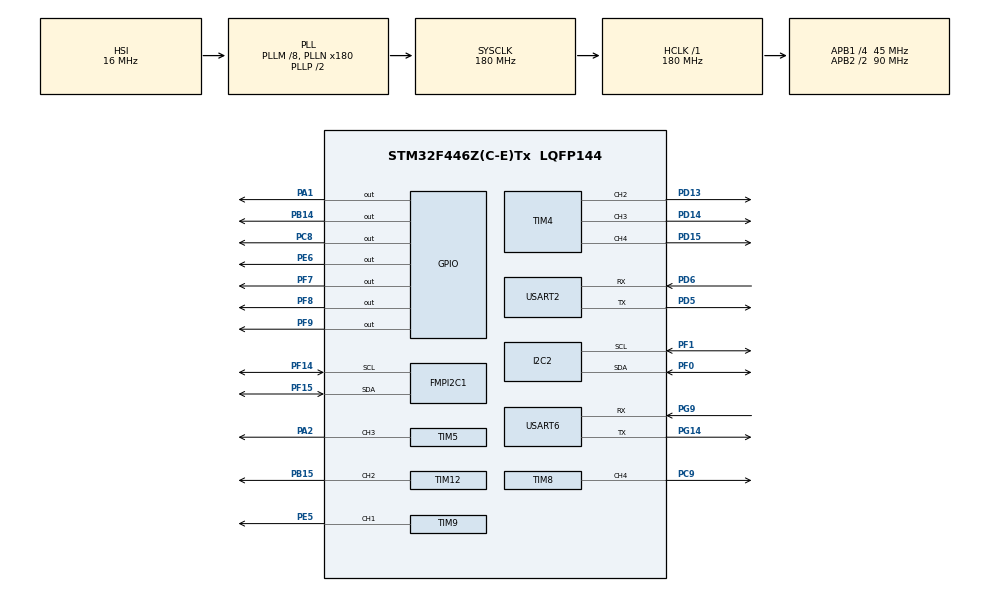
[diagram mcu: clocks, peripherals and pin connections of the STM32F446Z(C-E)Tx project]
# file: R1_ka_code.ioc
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FMPI2C1.Timing=0xC0000E12
Mcu.Family=STM32F4
Mcu.Name=STM32F446Z(C-E)Tx
Mcu.Package=LQFP144
NVIC.PriorityGroup=NVIC_PRIORITYGROUP_4
NVIC.TIM6_DAC_IRQn=true\:0\:0\:false\:false\:true\:true\:true\:true
NVIC.TIM7_IRQn=true\:0\:0\:false\:false\:true\:true\:true\:true
NVIC.USART2_IRQn=true\:0\:0\:false\:false\:true\:true\:true\:true
PA1.Signal=GPIO_Output
PA13.Mode=Serial_Wire
PA13.Signal=SYS_JTMS-SWDIO
PA14.Mode=Serial_Wire
PA14.Signal=SYS_JTCK-SWCLK
PA2.Signal=S_TIM5_CH3
PB14.Signal=GPIO_Output
PB15.Signal=S_TIM12_CH2
PC14-OSC32_IN.Mode=LSE-External-Oscillator
PC14-OSC32_IN.Signal=RCC_OSC32_IN
PC15-OSC32_OUT.Mode=LSE-External-Oscillator
PC15-OSC32_OUT.Signal=RCC_OSC32_OUT
PC8.Signal=GPIO_Output
PC9.Signal=S_TIM8_CH4
PD13.Signal=S_TIM4_CH2
PD14.Signal=S_TIM4_CH3
PD15.Signal=S_TIM4_CH4
PD5.Mode=Asynchronous
PD5.Signal=USART2_TX
PD6.Mode=Asynchronous
PD6.Signal=USART2_RX
PE5.Signal=S_TIM9_CH1
PE6.Signal=GPIO_Output
PF0.Mode=I2C
PF0.Signal=I2C2_SDA
PF1.Mode=I2C
PF1.Signal=I2C2_SCL
PF14.Mode=I2C
PF14.Signal=FMPI2C1_SCL
PF15.Mode=I2C
PF15.Signal=FMPI2C1_SDA
PF7.Signal=GPIO_Output
PF8.Signal=GPIO_Output
PF9.Signal=GPIO_Output
PG14.Mode=Asynchronous
PG14.Signal=USART6_TX
PG9.Mode=Asynchronous
PG9.Signal=USART6_RX
PH0-OSC_IN.Mode=HSE-External-Oscillator
PH0-OSC_IN.Signal=RCC_OSC_IN
PH1-OSC_OUT.Mode=HSE-External-Oscillator
PH1-OSC_OUT.Signal=RCC_OSC_OUT
ProjectManager.HeapSize=0x200
ProjectManager.StackSize=0x400
ProjectManager.TargetToolchain=STM32CubeIDE
RCC.48MHZClocksFreq_Value=24000000
RCC.AHBFreq_Value=180000000
RCC.APB1CLKDivider=RCC_HCLK_DIV4
RCC.APB1Freq_Value=45000000
RCC.APB1TimFreq_Value=90000000
RCC.APB2CLKDivider=RCC_HCLK_DIV2
RCC.APB2Freq_Value=90000000
RCC.APB2TimFreq_Value=180000000
RCC.CortexFreq_Value=180000000
RCC.HCLKFreq_Value=180000000
RCC.HSE_VALUE=8000000
RCC.HSI_VALUE=16000000
RCC.PLLM=8
RCC.PLLMUL=RCC_PLL_MUL9
RCC.PLLN=180
RCC.PRESCALERUSB=RCC_USBCLKSOURCE_PLL_DIV1_5
RCC.SYSCLKFreq_VALUE=180000000
RCC.SYSCLKSource=RCC_SYSCLKSOURCE_PLLCLK
RCC.SYSCLKSourceVirtual=RCC_SYSCLKSOURCE_PLLCLK
RCC.USBFreq_Value=180000000
RCC.VCOOutputFreq_Value=360000000
SH.S_TIM12_CH2.0=TIM12_CH2,PWM Generation2 CH2
SH.S_TIM4_CH2.0=TIM4_CH2,PWM Generation2 CH2
SH.S_TIM4_CH3.0=TIM4_CH3,PWM Generation3 CH3
SH.S_TIM4_CH4.0=TIM4_CH4,PWM Generation4 CH4
SH.S_TIM5_CH3.0=TIM5_CH3,PWM Generation3 CH3
SH.S_TIM8_CH4.0=TIM8_CH4,PWM Generation4 CH4
SH.S_TIM9_CH1.0=TIM9_CH1,PWM Generation1 CH1
TIM12.Channel-PWM\ Generation2\ CH2=TIM_CHANNEL_2
TIM4.Channel-PWM\ Generation2\ CH2=TIM_CHANNEL_2
TIM4.Channel-PWM\ Generation3\ CH3=TIM_CHANNEL_3
TIM4.Channel-PWM\ Generation4\ CH4=TIM_CHANNEL_4
TIM5.Channel-PWM\ Generation3\ CH3=TIM_CHANNEL_3
TIM6.Period=99
TIM6.Prescaler=999
TIM7.Period=99
TIM7.Prescaler=999
TIM8.Channel-PWM\ Generation4\ CH4=TIM_CHANNEL_4
TIM9.Channel-PWM\ Generation1\ CH1=TIM_CHANNEL_1
USART2.VirtualMode=VM_ASYNC
USART6.VirtualMode=VM_ASYNC
VP_TIM12_VS_ClockSourceINT.Mode=Internal
VP_TIM4_VS_ClockSourceINT.Mode=Internal
VP_TIM5_VS_ClockSourceINT.Mode=Internal
VP_TIM6_VS_ClockSourceINT.Mode=Enable_Timer
VP_TIM7_VS_ClockSourceINT.Mode=Enable_Timer
VP_TIM8_VS_ClockSourceINT.Mode=Internal
VP_TIM9_VS_ClockSourceINT.Mode=Internal
board=NUCLEO-F446ZE

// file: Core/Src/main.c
/* USER CODE BEGIN Header */
/**
  ******************************************************************************
  * @file           : main.c
  * @brief          : Main program body
  ******************************************************************************
  * @attention
  *
  * Copyright (c) 2026 STMicroelectronics.
  * All rights reserved.
  *
  * This software is licensed under terms that can be found in the LICENSE file
  * in the root directory of this software component.
  * If no LICENSE file comes with this software, it is provided AS-IS.
  *
  ******************************************************************************
  */
/* USER CODE END Header */
#include "main.h"

/* USER CODE BEGIN Includes */
#include<stdio.h>
#include<stdbool.h>
#include<stdint.h>
#include<string.h>
#include<math.h>

#include<Cytron.h>
#include"BNO055_STM32.h"
#include"OdriveS1.h"
#include"PCA9685.h"

/* USER CODE END Includes */

FMPI2C_HandleTypeDef hfmpi2c1;

I2C_HandleTypeDef hi2c2;

TIM_HandleTypeDef htim4;
TIM_HandleTypeDef htim5;
TIM_HandleTypeDef htim6;
TIM_HandleTypeDef htim7;
TIM_HandleTypeDef htim8;
TIM_HandleTypeDef htim9;
TIM_HandleTypeDef htim12;

UART_HandleTypeDef huart2;
UART_HandleTypeDef huart6;

/* USER CODE BEGIN PV */

//----------------------------------------Lib objects-----------------------------------------------
PCA_t PCA;
Cytron m1, m2, m3,SM1, Belt, Turret, conveyer;
OdriveS1 M1;

//------------------------------PS4 data receive variables over UART--------------------------

int8_t L_joystick_x = 0, L_joystick_y = 0, R_joystick_x = 0, R_joystick_y = 0, omega = 0;
bool right;
bool down;
bool up;
bool left;
bool square;
bool cross;
bool circle;
bool triangle;
bool PS, Touchpad, Options, Share, R3, L3, R1, L1;

//#define data_size 6
//uint8_t rxByte;
//int8_t data[data_size];
uint8_t rxByte;

int8_t data[6];

uint8_t receiving = 0;

uint8_t index1 = 0;

uint8_t length = 0;

//----------------------------------Navigation variables--------------------------------------------

#define radius       1
#define length       1
#define MAX_PWM      140
#define DEADZONE     30

bool flag = false;
bool is_omega = false;
bool pid = true;

unsigned long t_start, t_end;
float dt;

//angular PID
float angular_kp = 3.00;
float angular_ki = 1.6;
float angular_kd = 0.15;
float angular_p, angular_i, angular_d;
float angular_error, prev_angular_error, change_in_angular_error;
float angular_correction;
float target_heading = 0;

//chassis eqn variables

int pwm1, pwm2, pwm3;

float bot_vel, theta;

//------------------------------------------IMU variables-----------------------------------

float current_heading;
float heading_normalised;
volatile bool imu = false;

// ------------------------------------KFS placing variables------------------------------------

typedef enum {
	HOME, PLACE, REACH,
} ODrivePosition;

typedef struct {
	bool prevState;
} ODriveButton_t;

ODriveButton_t ODrive = { 0 };
ODriveButton_t ODrivePlace = { 0 };

ODrivePosition ODrivePos = HOME;

Cytron Turret, kfs_y_motion;

	typedef enum {
		OPEN, KEEP, GRAB,
	} servoPosition;

	typedef struct {
		bool prevState;
	} servoButton_t;

	servoButton_t servo = { 0 };
	servoButton_t servoPlace = { 0 };

	servoPosition servoPos = OPEN;

/* USER CODE END PV */

void SystemClock_Config(void);
static void MX_GPIO_Init(void);
static void MX_USART2_UART_Init(void);
static void MX_FMPI2C1_Init(void);
static void MX_TIM8_Init(void);
static void MX_TIM9_Init(void);
static void MX_TIM12_Init(void);
static void MX_TIM7_Init(void);
static void MX_USART6_UART_Init(void);
static void MX_I2C2_Init(void);
static void MX_TIM6_Init(void);
static void MX_TIM4_Init(void);
static void MX_TIM5_Init(void);

/* USER CODE BEGIN 0 */

float radians(float angle) {
	return angle * 2 * 3.14 / 360.0;
}

float degrees(float angle) {
	return angle * 360.0 / (2 * 3.14);
}

float map(float x, float in_min, float in_max, float out_min, float out_max) {
	return (x - in_min) * (out_max - out_min) / (in_max - in_min) + out_min;
}

float constrain(float num, float min, float max) {

	if (num > max) {
		return max;
	}

	else if (num < min) {
		return min;
	}

	else {
		return num;
	}
}

float normalise_angle(float angle) {
	if (angle > 180.0) {
		angle -= 360.0;
	}
	if (angle < -180.0) {
		angle += 360.0;
	}
	return angle;
}

void process_data()
{
//	HAL_UART_Receive(&huart2, &rxByte, 1, HAL_MAX_DELAY);
//
//			  if(rxByte == 0xAA)
//			  {
//			      HAL_UART_Receive(&huart2, (uint8_t*)data, sizeof(data), HAL_MAX_DELAY);

	            	uint8_t TempData1 = data[0];
	            	uint8_t TempData2 = data[1];

	            		up = ((TempData1 & (1 << 0)) ? 1 : 0);
	            		right = ((TempData1 & (1 << 1)) ? 1 : 0);
	            		down = ((TempData1 & (1 << 2)) ? 1 : 0);
	            		left = ((TempData1 & (1 << 3)) ? 1 : 0);
	            		triangle = ((TempData1 & (1 << 4)) ? 1 : 0);
	            		circle = ((TempData1 & (1 << 5)) ? 1 : 0);
	            		cross = ((TempData1 & (1 << 6)) ? 1 : 0);
	            		square = ((TempData1 & (1 << 7)) ? 1 : 0);

	            		L1 = ((TempData2 & (1 << 0)) ? 1 : 0);
	            		R1 = ((TempData2 & (1 << 1)) ? 1 : 0);
	            		L3 = ((TempData2 & (1 << 2)) ? 1 : 0);
	            		R3 = ((TempData2 & (1 << 3)) ? 1 : 0);
	            		Share = ((TempData2 & (1 << 4)) ? 1 : 0);
	            		Options = ((TempData2 & (1 << 5)) ? 1 : 0);
	            		Touchpad = ((TempData2 & (1 << 6)) ? 1 : 0);
	            		PS = ((TempData2 & (1 << 7)) ? 1 : 0);

	            		omega = -data[5];
	            		R_joystick_y = data[4];
//            	            		R_joystick_x = data[4];
	            		L_joystick_x = data[2];
	            		L_joystick_y = data[3];

	            		if (abs(L_joystick_x) < DEADZONE)
	            			L_joystick_x = 0;

	            		if (abs(L_joystick_y) < DEADZONE)
	            			L_joystick_y = 0;
	            		if (abs(omega) < 5)
	            			omega = 0;

//	            }

}

void find_wheel_vel() {

	bot_vel = sqrt(pow(L_joystick_x, 2) + pow(L_joystick_y, 2));
//	theta = atan2(L_joystick_y, L_joystick_x) + radians(target_heading);
	theta = atan2(L_joystick_y, L_joystick_x);

	pwm1 = constrain(
			((bot_vel * cos(theta) - (length * omega)) / radius)
					+ angular_correction, -MAX_PWM, MAX_PWM) * 1.3;
	pwm2 = constrain(
			((sqrt(3) * bot_vel * sin(theta) - bot_vel * cos(theta)
					- 2 * length * omega) / (2 * radius)) + angular_correction,
			-MAX_PWM, MAX_PWM) * 1.3;
	pwm3 = constrain(
			(-1
					* ((bot_vel * cos(theta)
							+ sqrt(3) * bot_vel * sin(theta)
							+ 2 * length * omega) / (2 * radius)))
					+ angular_correction, -MAX_PWM, MAX_PWM) * 1.3;

}

void rotate_motor(int pwm1, int pwm2, int pwm3) {

	RotateCytron(&m1, pwm1);
	RotateCytron(&m2, pwm2);
	RotateCytron(&m3, pwm3);

}

void get_angle() {

	bno055_vector_t v = bno055_getVectorEuler();
	current_heading = v.x;

}

void PID2() {

	angular_error = normalise_angle(target_heading - current_heading);
	change_in_angular_error = angular_error - prev_angular_error;
	prev_angular_error = angular_error;

	angular_p = angular_error * angular_kp;

	angular_i = angular_i + (angular_error * (float) dt * angular_ki);
	angular_d = (change_in_angular_error / (float) dt) * angular_kd;

	if (fabs(angular_error) > 9.5 || fabs(angular_error) < 1) {
		angular_i = 0;
	}

	angular_correction = angular_p + angular_i + angular_d;

}

void STAFF_Motor() {
	if (R_joystick_y > 50) {
		RotateCytron(&SM1, 80);
	} else if (R_joystick_y < -50) {
		RotateCytron(&SM1, -80);
	} else {
		Stop(&SM1);
	}

}

void TurretMotor() {
	if (right) {
		RotateCytron(&Turret, 70);
	} else if (left) {
		RotateCytron(&Turret, -70);
	} else {
		Stop(&Turret);
	}
}

void BeltMotor() {
	if (up) {
		RotateCytron(&Belt, 90);
	} else if (down) {
		RotateCytron(&Belt, -90);
	} else {
		Stop(&Belt);
	}
}

void ConveyerMotor() {

	if (L1) {
		RotateCytron(&conveyer, 120);
	} else if (R1) {
		RotateCytron(&conveyer, -120);
	} else {
		RotateCytron(&conveyer, 0);
	}

}
void kfs_picking_placing(){

	static int lastServoPos = -1;

	    if (circle && !servo.prevState) {
	        servo.prevState = true;

	        if (servoPos == GRAB)
	            servoPos = OPEN;
	        else
	            servoPos = GRAB;
	    }
	    else if (!circle) {
	        servo.prevState = false;
	    }

		if (cross && !servoPlace.prevState) {
			servoPlace.prevState = true;

			if (servoPos == KEEP) {
				servoPos = OPEN;
			} else {
				servoPos = KEEP;
			}

		} else if (!cross) {
			servoPlace.prevState = false;
		}

	    // Send I2C commands only if position changed
	    if (lastServoPos != servoPos)
	    {
	        lastServoPos = servoPos;

	        switch (servoPos)
	        {
	        case OPEN:
	            RotateServo(&PCA, 8, 110);
	            RotateServo(&PCA, 1, 80);
	            break;

	        case KEEP:
	            RotateServo(&PCA, 8, 75);
	            RotateServo(&PCA, 1, 150);
	            break;

	        case GRAB:
	            RotateServo(&PCA, 8, 40);
	            RotateServo(&PCA, 1, 180);
	            break;
	        }
	    }

}

typedef struct {
	bool prevState;
	bool flag;
} ToggleButton;

ToggleButton StaffGripServo = { 0 };
ToggleButton StaffAttackServo = { 0 };
void STAFF_Servo() {
	// GRIP SERVO
	if (square && !StaffGripServo.prevState) {
		StaffGripServo.prevState = true;
		StaffGripServo.flag = !StaffGripServo.flag;

		if (StaffGripServo.flag) {

			RotateServo(&PCA, 5, 0);
			RotateServo(&PCA, 3, 0);
			RotateServo(&PCA, 4, 0);
			RotateServo(&PCA, 10, 10);
		} else {

			RotateServo(&PCA, 5, 90);
			RotateServo(&PCA, 3, 120);
			RotateServo(&PCA, 4, 90);
			RotateServo(&PCA, 10, 90);
		}
	} else if (!square) {
		StaffGripServo.prevState = false;
	}

	// ATTACK SERVO
	if (triangle && !StaffAttackServo.prevState) {
		StaffAttackServo.prevState = true;
		StaffAttackServo.flag = !StaffAttackServo.flag;

		if (StaffAttackServo.flag) {
			//			RotateServo(&PCA, ATTACK_SERVO_1, ATTACK_SERVO_1_ATTACK_ANGLE);
			RotateServo(&PCA, 7, 155);			//110
			RotateServo(&PCA, 12, 155);
				RotateServo(&PCA, 2, 155);
				RotateServo(&PCA, 15, 155);
		} else {
			//			RotateServo(&PCA, ATTACK_SERVO_1, ATTACK_SERVO_1_NORMAL_ANGLE);
			RotateServo(&PCA, 7, 94);			//150
			RotateServo(&PCA, 12, 94);
			RotateServo(&PCA, 2, 100);
			RotateServo(&PCA, 15, 90);
		}
	} else if (!triangle) {
		StaffAttackServo.prevState = false;
	}

}

void M1_ODrive() {
	if (Touchpad && !ODrive.prevState) {
		ODrive.prevState = true;

		if (ODrivePos == REACH) {
			ODrivePos = HOME;
		} else {
			ODrivePos = REACH;
		}

	} else if (!Touchpad) {
		ODrive.prevState = false;
	}

	if (Share && !ODrivePlace.prevState) {
		ODrivePlace.prevState = true;

		if (ODrivePos == PLACE) {
			ODrivePos = HOME;
		} else {
			ODrivePos = PLACE;
		}

	} else if (!Share) {
		ODrivePlace.prevState = false;
	}

	switch (ODrivePos) {
	case HOME:
		ODrive_goTo(&M1, 0.0f, 15.0f);
		break;
	case PLACE:
		ODrive_goTo(&M1, 6.0f, 15.0f);
		break;
	case REACH:
		ODrive_goTo(&M1, 22.0f, 15.0f);
		break;
	default:
		ODrive_goTo(&M1, 0.0f, 00);
		break;
	}
}

/* USER CODE END 0 */

int main(void)
{

  /* MCU Configuration--------------------------------------------------------*/

  /* Reset of all peripherals, Initializes the Flash interface and the Systick. */
  HAL_Init();

  /* Configure the system clock */
  SystemClock_Config();

  /* Initialize all configured peripherals */
  MX_GPIO_Init();
  MX_USART2_UART_Init();
  MX_FMPI2C1_Init();
  MX_TIM8_Init();
  MX_TIM9_Init();
  MX_TIM12_Init();
  MX_TIM7_Init();
  MX_USART6_UART_Init();
  MX_I2C2_Init();
  MX_TIM6_Init();
  MX_TIM4_Init();
  MX_TIM5_Init();
  /* USER CODE BEGIN 2 */

  //--------------------------------------timer interrupt start------------------------

  HAL_TIM_Base_Start_IT(&htim7);
  HAL_TIM_Base_Start_IT(&htim6);

  //------------------------------------Odrive init------------------------------------

  M1.huart = &huart6;
//  ODrive_clearErrors(&M1);

  //-------------------------------------motor Init------------------------------------------------------
   InitCytron(&m1, &htim9, TIM_CHANNEL_1, GPIOE, GPIO_PIN_6, 1, 2, 20000);
   InitCytron(&m2, &htim8, TIM_CHANNEL_4, GPIOC, GPIO_PIN_8, 1, 2, 20000);
   InitCytron(&m3, &htim12, TIM_CHANNEL_2, GPIOB, GPIO_PIN_14, 1, 1, 20000);
   InitCytron(&SM1, &htim4, TIM_CHANNEL_2, GPIOF, GPIO_PIN_9, 0,  1,20000); // DIR PF9   PWM PC6
   InitCytron(&Turret, &htim4, TIM_CHANNEL_4, GPIOF, GPIO_PIN_8,0,1,20000); // DIR PF8   PWM PA1
   InitCytron(&Belt, &htim5, TIM_CHANNEL_3, GPIOA, GPIO_PIN_1, 0,1,20000); // DIR PA1   PWM PF8
   InitCytron(&conveyer, &htim4, TIM_CHANNEL_3, GPIOF, GPIO_PIN_7, 1,1,20000); // DIR PF7   PWM

   //----------------------------------------------IMU init-------------------------------------------------
   bno055_assignI2C(&hfmpi2c1);
   bno055_setup();
   bno055_setOperationModeNDOF();

   //---------------------------------------------PCA init----------------------------------------------------
   InitPCA(&PCA, &hi2c2, 50);

   HAL_UART_Receive_IT(&huart2, &rxByte, 1);

	RotateServo(&PCA, 7, 180);			//110
	RotateServo(&PCA, 12, 180);
	RotateServo(&PCA, 2, 180);
	RotateServo(&PCA, 15, 180);

	HAL_Delay(3000);

	RotateServo(&PCA, 7, 115);			//110
	RotateServo(&PCA, 12, 115);
	RotateServo(&PCA, 2, 121);
	RotateServo(&PCA, 15, 115);

  /* USER CODE END 2 */

  /* Infinite loop */
  while (1)
  {

    /* USER CODE BEGIN 3 */

	            t_start = HAL_GetTick();
	  			dt = (t_start - t_end) / 1000.0;
	  			t_end = t_start;

	  			process_data();
                kfs_picking_placing();
                STAFF_Servo();
                M1_ODrive();
                STAFF_Motor();
                TurretMotor();
                BeltMotor();
                ConveyerMotor();

	  				if (imu) {
	  					get_angle();
	  					imu = false;
	  				}

	  				if (omega) {
	  					   pid = false;
	  						flag = true;
	  						  		}

	  					if (!omega && flag) {
	  						 flag = false;
	  						 pid = true;
	  						 target_heading = current_heading;
	  						  				}

	  				if (pid) {
	  					PID2();
	  				}

	  				find_wheel_vel();
	  				rotate_motor(pwm1, pwm2, pwm3);

	  			HAL_Delay(10);

  }
  /* USER CODE END 3 */
}

void SystemClock_Config(void)
{
  RCC_OscInitTypeDef RCC_OscInitStruct = {0};
  RCC_ClkInitTypeDef RCC_ClkInitStruct = {0};

  /** Configure the main internal regulator output voltage
  */
  __HAL_RCC_PWR_CLK_ENABLE();
  __HAL_PWR_VOLTAGESCALING_CONFIG(PWR_REGULATOR_VOLTAGE_SCALE1);

  /** Initializes the RCC Oscillators according to the specified parameters
  * in the RCC_OscInitTypeDef structure.
  */
  RCC_OscInitStruct.OscillatorType = RCC_OSCILLATORTYPE_HSI;
  RCC_OscInitStruct.HSIState = RCC_HSI_ON;
  RCC_OscInitStruct.HSICalibrationValue = RCC_HSICALIBRATION_DEFAULT;
  RCC_OscInitStruct.PLL.PLLState = RCC_PLL_ON;
  RCC_OscInitStruct.PLL.PLLSource = RCC_PLLSOURCE_HSI;
  RCC_OscInitStruct.PLL.PLLM = 8;
  RCC_OscInitStruct.PLL.PLLN = 180;
  RCC_OscInitStruct.PLL.PLLP = RCC_PLLP_DIV2;
  RCC_OscInitStruct.PLL.PLLQ = 2;
  RCC_OscInitStruct.PLL.PLLR = 2;
  if (HAL_RCC_OscConfig(&RCC_OscInitStruct) != HAL_OK)
  {
    Error_Handler();
  }

  /** Activate the Over-Drive mode
  */
  if (HAL_PWREx_EnableOverDrive() != HAL_OK)
  {
    Error_Handler();
  }

  /** Initializes the CPU, AHB and APB buses clocks
  */
  RCC_ClkInitStruct.ClockType = RCC_CLOCKTYPE_HCLK|RCC_CLOCKTYPE_SYSCLK
                              |RCC_CLOCKTYPE_PCLK1|RCC_CLOCKTYPE_PCLK2;
  RCC_ClkInitStruct.SYSCLKSource = RCC_SYSCLKSOURCE_PLLCLK;
  RCC_ClkInitStruct.AHBCLKDivider = RCC_SYSCLK_DIV1;
  RCC_ClkInitStruct.APB1CLKDivider = RCC_HCLK_DIV4;
  RCC_ClkInitStruct.APB2CLKDivider = RCC_HCLK_DIV2;

  if (HAL_RCC_ClockConfig(&RCC_ClkInitStruct, FLASH_LATENCY_5) != HAL_OK)
  {
    Error_Handler();
  }
}

static void MX_FMPI2C1_Init(void)
{

  hfmpi2c1.Instance = FMPI2C1;
  hfmpi2c1.Init.Timing = 0xC0000E12;
  hfmpi2c1.Init.OwnAddress1 = 0;
  hfmpi2c1.Init.AddressingMode = FMPI2C_ADDRESSINGMODE_7BIT;
  hfmpi2c1.Init.DualAddressMode = FMPI2C_DUALADDRESS_DISABLE;
  hfmpi2c1.Init.OwnAddress2 = 0;
  hfmpi2c1.Init.OwnAddress2Masks = FMPI2C_OA2_NOMASK;
  hfmpi2c1.Init.GeneralCallMode = FMPI2C_GENERALCALL_DISABLE;
  hfmpi2c1.Init.NoStretchMode = FMPI2C_NOSTRETCH_DISABLE;
  if (HAL_FMPI2C_Init(&hfmpi2c1) != HAL_OK)
  {
    Error_Handler();
  }

  /** Configure Analogue filter
  */
  if (HAL_FMPI2CEx_ConfigAnalogFilter(&hfmpi2c1, FMPI2C_ANALOGFILTER_ENABLE) != HAL_OK)
  {
    Error_Handler();
  }

}

static void MX_I2C2_Init(void)
{

  hi2c2.Instance = I2C2;
  hi2c2.Init.ClockSpeed = 100000;
  hi2c2.Init.DutyCycle = I2C_DUTYCYCLE_2;
  hi2c2.Init.OwnAddress1 = 0;
  hi2c2.Init.AddressingMode = I2C_ADDRESSINGMODE_7BIT;
  hi2c2.Init.DualAddressMode = I2C_DUALADDRESS_DISABLE;
  hi2c2.Init.OwnAddress2 = 0;
  hi2c2.Init.GeneralCallMode = I2C_GENERALCALL_DISABLE;
  hi2c2.Init.NoStretchMode = I2C_NOSTRETCH_DISABLE;
  if (HAL_I2C_Init(&hi2c2) != HAL_OK)
  {
    Error_Handler();
  }

}

static void MX_TIM4_Init(void)
{

  TIM_ClockConfigTypeDef sClockSourceConfig = {0};
  TIM_MasterConfigTypeDef sMasterConfig = {0};
  TIM_OC_InitTypeDef sConfigOC = {0};

  htim4.Instance = TIM4;
  htim4.Init.Prescaler = 0;
  htim4.Init.CounterMode = TIM_COUNTERMODE_UP;
  htim4.Init.Period = 65535;
  htim4.Init.ClockDivision = TIM_CLOCKDIVISION_DIV1;
  htim4.Init.AutoReloadPreload = TIM_AUTORELOAD_PRELOAD_DISABLE;
  if (HAL_TIM_Base_Init(&htim4) != HAL_OK)
  {
    Error_Handler();
  }
  sClockSourceConfig.ClockSource = TIM_CLOCKSOURCE_INTERNAL;
  if (HAL_TIM_ConfigClockSource(&htim4, &sClockSourceConfig) != HAL_OK)
  {
    Error_Handler();
  }
  if (HAL_TIM_PWM_Init(&htim4) != HAL_OK)
  {
    Error_Handler();
  }
  sMasterConfig.MasterOutputTrigger = TIM_TRGO_RESET;
  sMasterConfig.MasterSlaveMode = TIM_MASTERSLAVEMODE_DISABLE;
  if (HAL_TIMEx_MasterConfigSynchronization(&htim4, &sMasterConfig) != HAL_OK)
  {
    Error_Handler();
  }
  sConfigOC.OCMode = TIM_OCMODE_PWM1;
  sConfigOC.Pulse = 0;
  sConfigOC.OCPolarity = TIM_OCPOLARITY_HIGH;
  sConfigOC.OCFastMode = TIM_OCFAST_DISABLE;
  if (HAL_TIM_PWM_ConfigChannel(&htim4, &sConfigOC, TIM_CHANNEL_2) != HAL_OK)
  {
    Error_Handler();
  }
  if (HAL_TIM_PWM_ConfigChannel(&htim4, &sConfigOC, TIM_CHANNEL_3) != HAL_OK)
  {
    Error_Handler();
  }
  if (HAL_TIM_PWM_ConfigChannel(&htim4, &sConfigOC, TIM_CHANNEL_4) != HAL_OK)
  {
    Error_Handler();
  }
  HAL_TIM_MspPostInit(&htim4);

}

static void MX_TIM5_Init(void)
{

  TIM_ClockConfigTypeDef sClockSourceConfig = {0};
  TIM_MasterConfigTypeDef sMasterConfig = {0};
  TIM_OC_InitTypeDef sConfigOC = {0};

  htim5.Instance = TIM5;
  htim5.Init.Prescaler = 0;
  htim5.Init.CounterMode = TIM_COUNTERMODE_UP;
  htim5.Init.Period = 4294967295;
  htim5.Init.ClockDivision = TIM_CLOCKDIVISION_DIV1;
  htim5.Init.AutoReloadPreload = TIM_AUTORELOAD_PRELOAD_DISABLE;
  if (HAL_TIM_Base_Init(&htim5) != HAL_OK)
  {
    Error_Handler();
  }
  sClockSourceConfig.ClockSource = TIM_CLOCKSOURCE_INTERNAL;
  if (HAL_TIM_ConfigClockSource(&htim5, &sClockSourceConfig) != HAL_OK)
  {
    Error_Handler();
  }
  if (HAL_TIM_PWM_Init(&htim5) != HAL_OK)
  {
    Error_Handler();
  }
  sMasterConfig.MasterOutputTrigger = TIM_TRGO_RESET;
  sMasterConfig.MasterSlaveMode = TIM_MASTERSLAVEMODE_DISABLE;
  if (HAL_TIMEx_MasterConfigSynchronization(&htim5, &sMasterConfig) != HAL_OK)
  {
    Error_Handler();
  }
  sConfigOC.OCMode = TIM_OCMODE_PWM1;
  sConfigOC.Pulse = 0;
  sConfigOC.OCPolarity = TIM_OCPOLARITY_HIGH;
  sConfigOC.OCFastMode = TIM_OCFAST_DISABLE;
  if (HAL_TIM_PWM_ConfigChannel(&htim5, &sConfigOC, TIM_CHANNEL_3) != HAL_OK)
  {
    Error_Handler();
  }
  HAL_TIM_MspPostInit(&htim5);

}

static void MX_TIM6_Init(void)
{

  TIM_MasterConfigTypeDef sMasterConfig = {0};

  htim6.Instance = TIM6;
  htim6.Init.Prescaler = 999;
  htim6.Init.CounterMode = TIM_COUNTERMODE_UP;
  htim6.Init.Period = 99;
  htim6.Init.AutoReloadPreload = TIM_AUTORELOAD_PRELOAD_DISABLE;
  if (HAL_TIM_Base_Init(&htim6) != HAL_OK)
  {
    Error_Handler();
  }
  sMasterConfig.MasterOutputTrigger = TIM_TRGO_RESET;
  sMasterConfig.MasterSlaveMode = TIM_MASTERSLAVEMODE_DISABLE;
  if (HAL_TIMEx_MasterConfigSynchronization(&htim6, &sMasterConfig) != HAL_OK)
  {
    Error_Handler();
  }

}

static void MX_TIM7_Init(void)
{

  TIM_MasterConfigTypeDef sMasterConfig = {0};

  htim7.Instance = TIM7;
  htim7.Init.Prescaler = 999;
  htim7.Init.CounterMode = TIM_COUNTERMODE_UP;
  htim7.Init.Period = 99;
  htim7.Init.AutoReloadPreload = TIM_AUTORELOAD_PRELOAD_DISABLE;
  if (HAL_TIM_Base_Init(&htim7) != HAL_OK)
  {
    Error_Handler();
  }
  sMasterConfig.MasterOutputTrigger = TIM_TRGO_RESET;
  sMasterConfig.MasterSlaveMode = TIM_MASTERSLAVEMODE_DISABLE;
  if (HAL_TIMEx_MasterConfigSynchronization(&htim7, &sMasterConfig) != HAL_OK)
  {
    Error_Handler();
  }

}

static void MX_TIM8_Init(void)
{

  TIM_ClockConfigTypeDef sClockSourceConfig = {0};
  TIM_MasterConfigTypeDef sMasterConfig = {0};
  TIM_OC_InitTypeDef sConfigOC = {0};
  TIM_BreakDeadTimeConfigTypeDef sBreakDeadTimeConfig = {0};

  htim8.Instance = TIM8;
  htim8.Init.Prescaler = 0;
  htim8.Init.CounterMode = TIM_COUNTERMODE_UP;
  htim8.Init.Period = 65535;
  htim8.Init.ClockDivision = TIM_CLOCKDIVISION_DIV1;
  htim8.Init.RepetitionCounter = 0;
  htim8.Init.AutoReloadPreload = TIM_AUTORELOAD_PRELOAD_DISABLE;
  if (HAL_TIM_Base_Init(&htim8) != HAL_OK)
  {
    Error_Handler();
  }
  sClockSourceConfig.ClockSource = TIM_CLOCKSOURCE_INTERNAL;
  if (HAL_TIM_ConfigClockSource(&htim8, &sClockSourceConfig) != HAL_OK)
  {
    Error_Handler();
  }
  if (HAL_TIM_PWM_Init(&htim8) != HAL_OK)
  {
    Error_Handler();
  }
  sMasterConfig.MasterOutputTrigger = TIM_TRGO_RESET;
  sMasterConfig.MasterSlaveMode = TIM_MASTERSLAVEMODE_DISABLE;
  if (HAL_TIMEx_MasterConfigSynchronization(&htim8, &sMasterConfig) != HAL_OK)
  {
    Error_Handler();
  }
  sConfigOC.OCMode = TIM_OCMODE_PWM1;
  sConfigOC.Pulse = 0;
  sConfigOC.OCPolarity = TIM_OCPOLARITY_HIGH;
  sConfigOC.OCFastMode = TIM_OCFAST_DISABLE;
  sConfigOC.OCIdleState = TIM_OCIDLESTATE_RESET;
  sConfigOC.OCNIdleState = TIM_OCNIDLESTATE_RESET;
  if (HAL_TIM_PWM_ConfigChannel(&htim8, &sConfigOC, TIM_CHANNEL_4) != HAL_OK)
  {
    Error_Handler();
  }
  sBreakDeadTimeConfig.OffStateRunMode = TIM_OSSR_DISABLE;
  sBreakDeadTimeConfig.OffStateIDLEMode = TIM_OSSI_DISABLE;
  sBreakDeadTimeConfig.LockLevel = TIM_LOCKLEVEL_OFF;
  sBreakDeadTimeConfig.DeadTime = 0;
  sBreakDeadTimeConfig.BreakState = TIM_BREAK_DISABLE;
  sBreakDeadTimeConfig.BreakPolarity = TIM_BREAKPOLARITY_HIGH;
  sBreakDeadTimeConfig.AutomaticOutput = TIM_AUTOMATICOUTPUT_DISABLE;
  if (HAL_TIMEx_ConfigBreakDeadTime(&htim8, &sBreakDeadTimeConfig) != HAL_OK)
  {
    Error_Handler();
  }
  HAL_TIM_MspPostInit(&htim8);

}

static void MX_TIM9_Init(void)
{

  TIM_ClockConfigTypeDef sClockSourceConfig = {0};
  TIM_OC_InitTypeDef sConfigOC = {0};

  htim9.Instance = TIM9;
  htim9.Init.Prescaler = 0;
  htim9.Init.CounterMode = TIM_COUNTERMODE_UP;
  htim9.Init.Period = 65535;
  htim9.Init.ClockDivision = TIM_CLOCKDIVISION_DIV1;
  htim9.Init.AutoReloadPreload = TIM_AUTORELOAD_PRELOAD_DISABLE;
  if (HAL_TIM_Base_Init(&htim9) != HAL_OK)
  {
    Error_Handler();
  }
  sClockSourceConfig.ClockSource = TIM_CLOCKSOURCE_INTERNAL;
  if (HAL_TIM_ConfigClockSource(&htim9, &sClockSourceConfig) != HAL_OK)
  {
    Error_Handler();
  }
  if (HAL_TIM_PWM_Init(&htim9) != HAL_OK)
  {
    Error_Handler();
  }
  sConfigOC.OCMode = TIM_OCMODE_PWM1;
  sConfigOC.Pulse = 0;
  sConfigOC.OCPolarity = TIM_OCPOLARITY_HIGH;
  sConfigOC.OCFastMode = TIM_OCFAST_DISABLE;
  if (HAL_TIM_PWM_ConfigChannel(&htim9, &sConfigOC, TIM_CHANNEL_1) != HAL_OK)
  {
    Error_Handler();
  }
  HAL_TIM_MspPostInit(&htim9);

}

static void MX_TIM12_Init(void)
{

  TIM_ClockConfigTypeDef sClockSourceConfig = {0};
  TIM_OC_InitTypeDef sConfigOC = {0};

  htim12.Instance = TIM12;
  htim12.Init.Prescaler = 0;
  htim12.Init.CounterMode = TIM_COUNTERMODE_UP;
  htim12.Init.Period = 65535;
  htim12.Init.ClockDivision = TIM_CLOCKDIVISION_DIV1;
  htim12.Init.AutoReloadPreload = TIM_AUTORELOAD_PRELOAD_DISABLE;
  if (HAL_TIM_Base_Init(&htim12) != HAL_OK)
  {
    Error_Handler();
  }
  sClockSourceConfig.ClockSource = TIM_CLOCKSOURCE_INTERNAL;
  if (HAL_TIM_ConfigClockSource(&htim12, &sClockSourceConfig) != HAL_OK)
  {
    Error_Handler();
  }
  if (HAL_TIM_PWM_Init(&htim12) != HAL_OK)
  {
    Error_Handler();
  }
  sConfigOC.OCMode = TIM_OCMODE_PWM1;
  sConfigOC.Pulse = 0;
  sConfigOC.OCPolarity = TIM_OCPOLARITY_HIGH;
  sConfigOC.OCFastMode = TIM_OCFAST_DISABLE;
  if (HAL_TIM_PWM_ConfigChannel(&htim12, &sConfigOC, TIM_CHANNEL_2) != HAL_OK)
  {
    Error_Handler();
  }
  HAL_TIM_MspPostInit(&htim12);

}

static void MX_USART2_UART_Init(void)
{

  huart2.Instance = USART2;
  huart2.Init.BaudRate = 115200;
  huart2.Init.WordLength = UART_WORDLENGTH_8B;
  huart2.Init.StopBits = UART_STOPBITS_1;
  huart2.Init.Parity = UART_PARITY_NONE;
  huart2.Init.Mode = UART_MODE_TX_RX;
  huart2.Init.HwFlowCtl = UART_HWCONTROL_NONE;
  huart2.Init.OverSampling = UART_OVERSAMPLING_16;
  if (HAL_UART_Init(&huart2) != HAL_OK)
  {
    Error_Handler();
  }

}

static void MX_USART6_UART_Init(void)
{

  huart6.Instance = USART6;
  huart6.Init.BaudRate = 115200;
  huart6.Init.WordLength = UART_WORDLENGTH_8B;
  huart6.Init.StopBits = UART_STOPBITS_1;
  huart6.Init.Parity = UART_PARITY_NONE;
  huart6.Init.Mode = UART_MODE_TX_RX;
  huart6.Init.HwFlowCtl = UART_HWCONTROL_NONE;
  huart6.Init.OverSampling = UART_OVERSAMPLING_16;
  if (HAL_UART_Init(&huart6) != HAL_OK)
  {
    Error_Handler();
  }

}

static void MX_GPIO_Init(void)
{
  GPIO_InitTypeDef GPIO_InitStruct = {0};

  /* GPIO Ports Clock Enable */
  __HAL_RCC_GPIOE_CLK_ENABLE();
  __HAL_RCC_GPIOC_CLK_ENABLE();
  __HAL_RCC_GPIOF_CLK_ENABLE();
  __HAL_RCC_GPIOH_CLK_ENABLE();
  __HAL_RCC_GPIOA_CLK_ENABLE();
  __HAL_RCC_GPIOB_CLK_ENABLE();
  __HAL_RCC_GPIOD_CLK_ENABLE();
  __HAL_RCC_GPIOG_CLK_ENABLE();

  /*Configure GPIO pin Output Level */
  HAL_GPIO_WritePin(GPIOE, GPIO_PIN_6, GPIO_PIN_RESET);

  /*Configure GPIO pin Output Level */
  HAL_GPIO_WritePin(GPIOF, GPIO_PIN_7|GPIO_PIN_8|GPIO_PIN_9, GPIO_PIN_RESET);

  /*Configure GPIO pin Output Level */
  HAL_GPIO_WritePin(GPIOA, GPIO_PIN_1, GPIO_PIN_RESET);

  /*Configure GPIO pin Output Level */
  HAL_GPIO_WritePin(GPIOB, GPIO_PIN_14, GPIO_PIN_RESET);

  /*Configure GPIO pin Output Level */
  HAL_GPIO_WritePin(GPIOC, GPIO_PIN_8, GPIO_PIN_RESET);

  /*Configure GPIO pin : PE6 */
  GPIO_InitStruct.Pin = GPIO_PIN_6;
  GPIO_InitStruct.Mode = GPIO_MODE_OUTPUT_PP;
  GPIO_InitStruct.Pull = GPIO_NOPULL;
  GPIO_InitStruct.Speed = GPIO_SPEED_FREQ_LOW;
  HAL_GPIO_Init(GPIOE, &GPIO_InitStruct);

  /*Configure GPIO pins : PF7 PF8 PF9 */
  GPIO_InitStruct.Pin = GPIO_PIN_7|GPIO_PIN_8|GPIO_PIN_9;
  GPIO_InitStruct.Mode = GPIO_MODE_OUTPUT_PP;
  GPIO_InitStruct.Pull = GPIO_NOPULL;
  GPIO_InitStruct.Speed = GPIO_SPEED_FREQ_LOW;
  HAL_GPIO_Init(GPIOF, &GPIO_InitStruct);

  /*Configure GPIO pin : PA1 */
  GPIO_InitStruct.Pin = GPIO_PIN_1;
  GPIO_InitStruct.Mode = GPIO_MODE_OUTPUT_PP;
  GPIO_InitStruct.Pull = GPIO_NOPULL;
  GPIO_InitStruct.Speed = GPIO_SPEED_FREQ_LOW;
  HAL_GPIO_Init(GPIOA, &GPIO_InitStruct);

  /*Configure GPIO pin : PB14 */
  GPIO_InitStruct.Pin = GPIO_PIN_14;
  GPIO_InitStruct.Mode = GPIO_MODE_OUTPUT_PP;
  GPIO_InitStruct.Pull = GPIO_NOPULL;
  GPIO_InitStruct.Speed = GPIO_SPEED_FREQ_LOW;
  HAL_GPIO_Init(GPIOB, &GPIO_InitStruct);

  /*Configure GPIO pin : PC8 */
  GPIO_InitStruct.Pin = GPIO_PIN_8;
  GPIO_InitStruct.Mode = GPIO_MODE_OUTPUT_PP;
  GPIO_InitStruct.Pull = GPIO_NOPULL;
  GPIO_InitStruct.Speed = GPIO_SPEED_FREQ_LOW;
  HAL_GPIO_Init(GPIOC, &GPIO_InitStruct);

}

/* USER CODE BEGIN 4 */
void HAL_UART_RxCpltCallback(UART_HandleTypeDef *huart)

{

    if(huart->Instance == USART2)

    {

        // START BYTE DETECTED

        if(rxByte == 0xAA)

        {

            receiving = 1;

            index1 = 0;

        }

        else if(receiving)

        {

            data[index1++] = rxByte;

            if(index1 >= 6)

            {

                receiving = 0;

            }

        }

        HAL_UART_Receive_IT(&huart2, &rxByte, 1);

    }

}

void HAL_TIM_PeriodElapsedCallback(TIM_HandleTypeDef *htim) {
	/* USER CODE BEGIN Callback 0 */

	/* USER CODE END Callback 0 */
	if (htim->Instance == TIM7) {
		imu = true;
//		  M1_ODrive();
	}

//	if(htim->Instance == TIM6){
//        M1_ODrive();

//	}
	/* USER CODE BEGIN Callback 1 */

	/* USER CODE END Callback 1 */
}

/* USER CODE END 4 */

void Error_Handler(void)
{
  __disable_irq();
  while (1)
  {
  }
}
